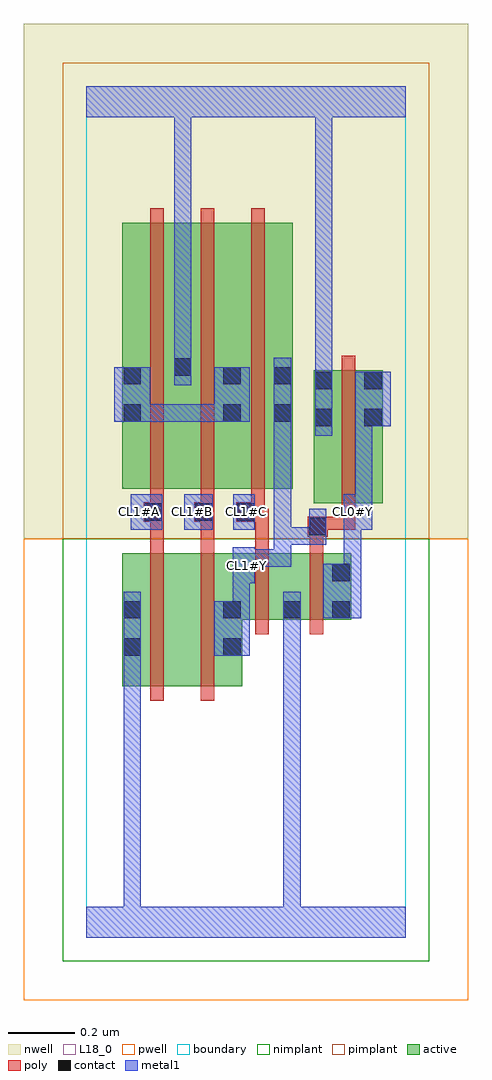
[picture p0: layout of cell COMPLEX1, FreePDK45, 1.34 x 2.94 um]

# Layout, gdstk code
import gdstk
lib = gdstk.Library(unit=1e-6, precision=1e-09)
def R(c, l, rs):  # rectangles x0, y0, x1, y1
    for r in rs: c.add(gdstk.rectangle(r[:2], r[2:], *l))
def A(c, l, x, y, w, h, nx, ny, dx, dy):  # array of equal rectangles
    R(c, l, [(x+i*dx, y+j*dy, x+i*dx+w, y+j*dy+h) for i in range(nx) for j in range(ny)])
active = (1, 0)
pwell = (2, 0)
nwell = (3, 0)
nimplant = (4, 0)
pimplant = (5, 0)
poly = (9, 0)
contact = (10, 0)
metal1 = (11, 0)
L18_0 = (18, 0)
boundary = (235, 0)

complex1 = lib.new_cell('COMPLEX1')
R(complex1, active, [(0.108,0.756,0.168,1.156), (0.108,0.756,0.288,1.156), (0.288,0.756,0.468,1.156), (0.408,0.756,0.468,1.156), (0.408,0.956,0.648,1.156), (0.588,0.956,0.648,1.156), (0.588,0.956,0.796,1.156), (0.736,0.956,0.796,1.156), (0.684,1.306,0.744,1.706), (0.684,1.306,0.892,1.706), (0.832,1.306,0.892,1.706), (0.108,1.35,0.32,2.15), (0.108,1.35,0.168,2.15), (0.26,1.35,0.468,2.15), (0.408,1.35,0.62,2.15), (0.56,1.35,0.62,2.044), (0.408,1.548,0.468,2.044), (0.26,1.686,0.32,2.15)])
R(complex1, pwell, [(-0.188,-0.188,1.148,1.2)])
R(complex1, nwell, [(-0.188,1.2,1.148,2.748)])
R(complex1, nimplant, [(-0.072,-0.072,1.032,1.2)])
R(complex1, pimplant, [(-0.072,1.2,1.032,2.632)])
A(complex1, poly, 0.192, 1.27, 0.04, 0.076, 3, 1, 0.152, 0)
A(complex1, poly, 0.192, 1.306, 0.04, 0.888, 3, 1, 0.152, 0)
R(complex1, poly, [(0.192,0.712,0.232,1.2), (0.344,0.712,0.384,1.2), (0.508,0.912,0.548,1.2), (0.672,0.912,0.712,1.2), (0.192,1.16,0.232,1.29), (0.344,1.16,0.384,1.29), (0.508,1.16,0.548,1.29), (0.672,1.16,0.712,1.246), (0.666,1.206,0.726,1.266), (0.686,1.226,0.726,1.266), (0.686,1.226,0.808,1.266), (0.768,1.226,0.808,1.302), (0.172,1.25,0.232,1.31), (0.324,1.25,0.384,1.31), (0.45,1.25,0.536,1.31), (0.496,1.25,0.536,1.29), (0.496,1.25,0.548,1.29), (0.768,1.262,0.808,1.75), (0.192,1.27,0.232,1.31), (0.192,1.27,0.232,1.31), (0.344,1.27,0.384,1.31), (0.344,1.27,0.384,1.31)])
R(complex1, contact, [(0.112,0.848,0.164,0.9), (0.412,0.848,0.464,0.9), (0.112,0.96,0.164,1.012), (0.412,0.96,0.464,1.012), (0.592,0.96,0.644,1.012), (0.74,0.96,0.792,1.012), (0.74,1.072,0.792,1.124), (0.67,1.21,0.722,1.262), (0.176,1.254,0.228,1.306), (0.328,1.254,0.38,1.306), (0.454,1.254,0.506,1.306), (0.688,1.538,0.74,1.59), (0.836,1.538,0.888,1.59), (0.112,1.552,0.164,1.604), (0.412,1.552,0.464,1.604), (0.564,1.552,0.616,1.604), (0.688,1.65,0.74,1.702), (0.836,1.65,0.888,1.702), (0.112,1.664,0.164,1.716), (0.412,1.664,0.464,1.716), (0.564,1.664,0.616,1.716), (0.264,1.69,0.316,1.742)])
R(complex1, metal1, [(0,0,0.96,0.092), (0.112,0.04,0.164,0.092), (0.112,0.04,0.164,0.092), (0.112,0.04,0.164,0.092), (0.112,0.04,0.164,0.092), (0.112,0.04,0.164,0.092), (0.112,0.04,0.164,0.092), (0.112,0.04,0.164,0.092), (0.112,0.04,0.164,0.092), (0.112,0.04,0.164,0.092), (0.112,0.04,0.164,0.092), (0.112,0.04,0.164,0.872), (0.592,0.04,0.644,0.092), (0.592,0.04,0.644,0.092), (0.592,0.04,0.644,0.202), (0.592,0.15,0.644,0.202), (0.592,0.15,0.644,0.202), (0.592,0.15,0.644,0.202), (0.592,0.15,0.644,0.202), (0.592,0.15,0.644,0.202), (0.592,0.15,0.644,0.202), (0.592,0.15,0.644,0.202), (0.592,0.15,0.644,0.202), (0.592,0.15,0.644,0.202), (0.592,0.15,0.644,0.202), (0.592,0.15,0.644,0.202), (0.592,0.15,0.644,0.202), (0.592,0.15,0.644,0.202), (0.592,0.15,0.644,0.984), (0.112,0.82,0.164,0.872), (0.112,0.82,0.164,0.872), (0.112,0.82,0.164,1.04), (0.384,0.848,0.492,1.012), (0.592,0.932,0.644,1.04), (0.44,0.96,0.492,1.118), (0.712,0.96,0.826,1.124), (0.44,1.066,0.506,1.174), (0.774,1.072,0.826,1.278), (0.454,1.116,0.506,1.168), (0.454,1.116,0.506,1.168), (0.454,1.116,0.616,1.168), (0.564,1.116,0.616,1.234), (0.564,1.182,0.616,1.234), (0.564,1.182,0.616,1.234), (0.564,1.182,0.722,1.234), (0.564,1.182,0.616,1.576), (0.67,1.182,0.722,1.29), (0.134,1.226,0.228,1.334), (0.294,1.226,0.38,1.334), (0.442,1.226,0.506,1.334), (0.774,1.226,0.86,1.334), (0.808,1.282,0.86,1.59), (0.688,1.51,0.74,1.73), (0.564,1.524,0.616,1.576), (0.564,1.524,0.616,1.576), (0.564,1.524,0.616,1.744), (0.808,1.538,0.86,1.59), (0.808,1.538,0.86,1.59), (0.808,1.538,0.916,1.702), (0.084,1.552,0.192,1.716), (0.14,1.552,0.192,1.604), (0.14,1.552,0.192,1.604), (0.14,1.552,0.302,1.604), (0.25,1.552,0.302,1.604), (0.25,1.552,0.302,1.604), (0.25,1.552,0.302,1.604), (0.25,1.552,0.436,1.604), (0.384,1.552,0.492,1.716), (0.264,1.662,0.316,1.77), (0.688,1.678,0.74,1.73), (0.688,1.678,0.74,1.73), (0.688,1.678,0.74,1.73), (0.688,1.678,0.74,1.73), (0.688,1.678,0.74,1.73), (0.688,1.678,0.74,1.73), (0.688,1.678,0.74,1.73), (0.688,1.678,0.74,1.73), (0.688,1.678,0.74,1.73), (0.688,1.678,0.74,1.73), (0.688,1.678,0.74,1.73), (0.688,1.678,0.74,1.73), (0.688,1.678,0.74,1.73), (0.688,1.678,0.74,1.73), (0.688,1.678,0.74,1.73), (0.688,1.678,0.74,1.73), (0.688,1.678,0.74,2.52), (0.264,1.718,0.316,2.52), (0,2.468,0.96,2.56), (0.264,2.468,0.316,2.52), (0.264,2.468,0.316,2.52), (0.264,2.468,0.316,2.52), (0.264,2.468,0.316,2.52), (0.264,2.468,0.316,2.52), (0.264,2.468,0.316,2.52), (0.264,2.468,0.316,2.52), (0.264,2.468,0.316,2.52)])
A(complex1, L18_0, 0.134, 1.254, 0.052, 0.052, 3, 1, 0.16, 0)
R(complex1, L18_0, [(0,0,0.96,0.092), (0.112,0.04,0.164,0.092), (0.112,0.04,0.164,0.092), (0.112,0.04,0.164,0.092), (0.112,0.04,0.164,0.092), (0.112,0.04,0.164,0.092), (0.112,0.04,0.164,0.092), (0.112,0.04,0.164,0.092), (0.112,0.04,0.164,0.092), (0.112,0.04,0.164,0.092), (0.112,0.04,0.164,0.092), (0.112,0.04,0.164,0.872), (0.592,0.04,0.644,0.092), (0.592,0.04,0.644,0.092), (0.592,0.04,0.644,0.202), (0.592,0.15,0.644,0.202), (0.592,0.15,0.644,0.202), (0.592,0.15,0.644,0.202), (0.592,0.15,0.644,0.202), (0.592,0.15,0.644,0.202), (0.592,0.15,0.644,0.202), (0.592,0.15,0.644,0.202), (0.592,0.15,0.644,0.202), (0.592,0.15,0.644,0.202), (0.592,0.15,0.644,0.202), (0.592,0.15,0.644,0.202), (0.592,0.15,0.644,0.202), (0.592,0.15,0.644,0.202), (0.592,0.15,0.644,0.984), (0.112,0.82,0.164,0.872), (0.112,0.82,0.164,0.872), (0.112,0.82,0.164,1.04), (0.384,0.848,0.492,1.012), (0.592,0.932,0.644,1.04), (0.44,0.96,0.492,1.118), (0.712,0.96,0.826,1.124), (0.44,1.066,0.506,1.174), (0.774,1.072,0.826,1.278), (0.454,1.094,0.506,1.146), (0.454,1.116,0.506,1.168), (0.454,1.116,0.506,1.168), (0.454,1.116,0.616,1.168), (0.564,1.116,0.616,1.234), (0.564,1.182,0.616,1.234), (0.564,1.182,0.616,1.234), (0.564,1.182,0.616,1.576), (0.564,1.182,0.722,1.234), (0.67,1.182,0.722,1.29), (0.134,1.226,0.228,1.334), (0.294,1.226,0.38,1.334), (0.442,1.226,0.506,1.334), (0.774,1.226,0.86,1.334), (0.774,1.254,0.826,1.306), (0.808,1.282,0.86,1.59), (0.688,1.51,0.74,1.73), (0.564,1.524,0.616,1.576), (0.564,1.524,0.616,1.576), (0.564,1.524,0.616,1.744), (0.808,1.538,0.86,1.59), (0.808,1.538,0.86,1.59), (0.808,1.538,0.916,1.702), (0.264,1.662,0.316,1.77), (0.688,1.678,0.74,1.73), (0.688,1.678,0.74,1.73), (0.688,1.678,0.74,1.73), (0.688,1.678,0.74,1.73), (0.688,1.678,0.74,1.73), (0.688,1.678,0.74,1.73), (0.688,1.678,0.74,1.73), (0.688,1.678,0.74,1.73), (0.688,1.678,0.74,1.73), (0.688,1.678,0.74,1.73), (0.688,1.678,0.74,1.73), (0.688,1.678,0.74,1.73), (0.688,1.678,0.74,1.73), (0.688,1.678,0.74,1.73), (0.688,1.678,0.74,1.73), (0.688,1.678,0.74,1.73), (0.688,1.678,0.74,2.52), (0.264,1.718,0.316,2.52), (0,2.468,0.96,2.56), (0.264,2.468,0.316,2.52), (0.264,2.468,0.316,2.52), (0.264,2.468,0.316,2.52), (0.264,2.468,0.316,2.52), (0.264,2.468,0.316,2.52), (0.264,2.468,0.316,2.52), (0.264,2.468,0.316,2.52), (0.264,2.468,0.316,2.52)])
R(complex1, boundary, [(0,0,0.96,2.56)])
complex1.add(gdstk.Label('CL0#Y', (0.8,1.28), layer=11, texttype=0))
complex1.add(gdstk.Label('CL1#A', (0.16,1.28), layer=11, texttype=0))
complex1.add(gdstk.Label('CL1#B', (0.32,1.28), layer=11, texttype=0))
complex1.add(gdstk.Label('CL1#C', (0.48,1.28), layer=11, texttype=0))
complex1.add(gdstk.Label('CL1#Y', (0.48,1.12), layer=11, texttype=0))

lib.write_gds('COMPLEX1.gds')
